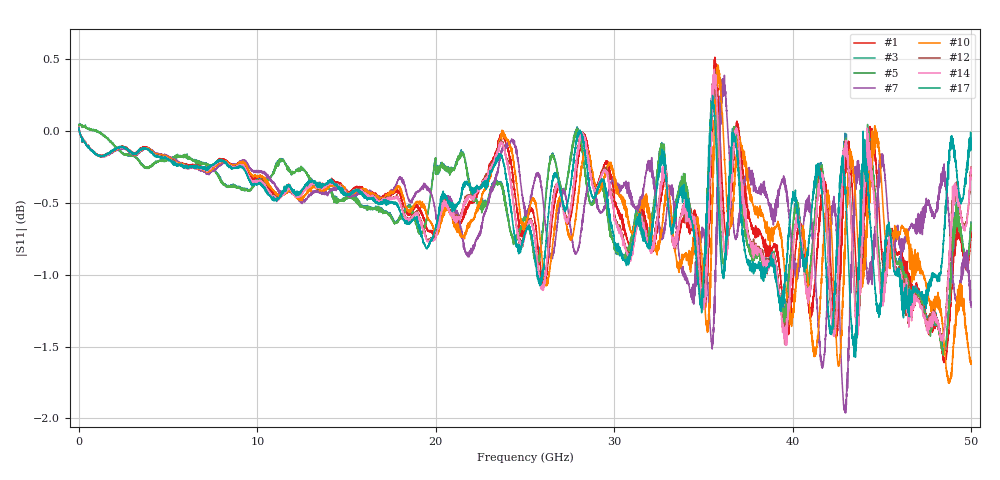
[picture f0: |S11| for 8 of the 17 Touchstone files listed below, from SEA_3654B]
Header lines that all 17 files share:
!Created with skrf (http://scikit-rf.org).
# Hz S RI R 50.0
!freq ReS11 ImS11
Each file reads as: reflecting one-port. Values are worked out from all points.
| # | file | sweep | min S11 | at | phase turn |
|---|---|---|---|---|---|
| 1 | 3654B_FF_85056A_MSHORT_FieldFox_mate1_swp1.s1p | 5.3 MHz to 50 GHz | -1.6 dB | 48.49 GHz | -3725 deg |
| 2 | 3654B_FF_85056A_MSHORT_FieldFox_mate1_swp2.s1p | 5.3 MHz to 50 GHz | -1.6 dB | 48.48 GHz | -3725 deg |
| 3 | 3654B_FF_85058B_MOPEN_FieldFox_mate1_swp0.s1p | 300 kHz to 50 GHz | -1.6 dB | 48.46 GHz | -3550 deg |
| 4 | 3654B_FF_85058B_MOPEN_FieldFox_mate1_swp1.s1p | 300 kHz to 50 GHz | -1.6 dB | 48.47 GHz | -3550 deg |
| 5 | 3654B_FF_85058B_MOPEN_FieldFox_mate1_swp2.s1p | 300 kHz to 50 GHz | -1.6 dB | 48.43 GHz | -3550 deg |
| 6 | 3654B_FF_85058B_MSHORT1_FieldFox_mate1_swp0.s1p | 5.3 MHz to 50 GHz | -2.0 dB | 42.92 GHz | -3561 deg |
| 7 | 3654B_FF_85058B_MSHORT1_FieldFox_mate1_swp1.s1p | 5.3 MHz to 50 GHz | -2.0 dB | 42.97 GHz | -3561 deg |
| 8 | 3654B_FF_85058B_MSHORT1_FieldFox_mate1_swp2.s1p | 5.3 MHz to 50 GHz | -2.0 dB | 42.92 GHz | -3561 deg |
| 9 | 3654B_FF_85058B_MSHORT2_FieldFox_mate1_swp0.s1p | 5.3 MHz to 50 GHz | -1.7 dB | 48.75 GHz | -3659 deg |
| 10 | 3654B_FF_85058B_MSHORT2_FieldFox_mate1_swp1.s1p | 5.3 MHz to 50 GHz | -1.8 dB | 48.76 GHz | -3660 deg |
| 11 | 3654B_FF_85058B_MSHORT2_FieldFox_mate1_swp2.s1p | 5.3 MHz to 50 GHz | -1.8 dB | 48.74 GHz | -3660 deg |
| 12 | 3654B_FF_85058B_MSHORT3_FieldFox_mate1_swp0.s1p | 5.3 MHz to 50 GHz | -1.5 dB | 39.59 GHz | -3760 deg |
| 13 | 3654B_FF_85058B_MSHORT3_FieldFox_mate1_swp1.s1p | 5.3 MHz to 50 GHz | -1.5 dB | 39.6 GHz | -3761 deg |
| 14 | 3654B_FF_85058B_MSHORT3_FieldFox_mate1_swp2.s1p | 5.3 MHz to 50 GHz | -1.5 dB | 39.62 GHz | -3761 deg |
| 15 | 3654B_FF_85058B_MSHORT4_FieldFox_mate1_swp0.s1p | 5.3 MHz to 50 GHz | -1.6 dB | 43.47 GHz | -3824 deg |
| 16 | 3654B_FF_85058B_MSHORT4_FieldFox_mate1_swp1.s1p | 5.3 MHz to 50 GHz | -1.6 dB | 43.47 GHz | -3824 deg |
| 17 | 3654B_FF_85058B_MSHORT4_FieldFox_mate1_swp2.s1p | 5.3 MHz to 50 GHz | -1.6 dB | 43.52 GHz | -3825 deg |
